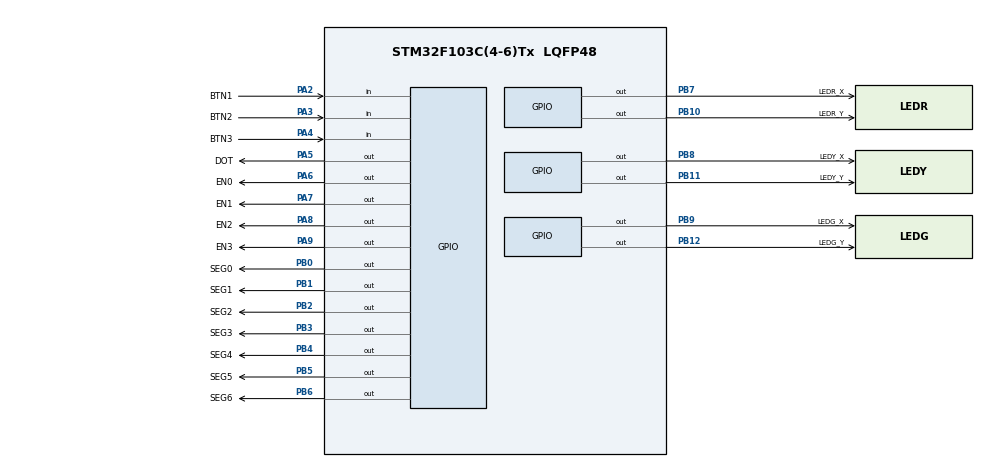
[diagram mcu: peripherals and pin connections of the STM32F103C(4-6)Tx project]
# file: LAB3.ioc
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Mcu.Family=STM32F1
Mcu.Name=STM32F103C(4-6)Tx
Mcu.Package=LQFP48
NVIC.PriorityGroup=NVIC_PRIORITYGROUP_4
NVIC.TIM2_IRQn=true\:0\:0\:false\:false\:true\:true\:true
PA2.GPIO_Label=BTN1
PA2.Signal=GPIO_Input
PA3.GPIO_Label=BTN2
PA3.Signal=GPIO_Input
PA4.GPIO_Label=BTN3
PA4.Signal=GPIO_Input
PA5.GPIO_Label=DOT
PA5.Signal=GPIO_Output
PA6.GPIO_Label=EN0
PA6.Signal=GPIO_Output
PA7.GPIO_Label=EN1
PA7.Signal=GPIO_Output
PA8.GPIO_Label=EN2
PA8.Signal=GPIO_Output
PA9.GPIO_Label=EN3
PA9.Signal=GPIO_Output
PB0.GPIO_Label=SEG0
PB0.Signal=GPIO_Output
PB1.GPIO_Label=SEG1
PB1.Signal=GPIO_Output
PB10.GPIO_Label=LEDR_Y
PB10.Signal=GPIO_Output
PB11.GPIO_Label=LEDY_Y
PB11.Signal=GPIO_Output
PB12.GPIO_Label=LEDG_Y
PB12.Signal=GPIO_Output
PB2.GPIO_Label=SEG2
PB2.Signal=GPIO_Output
PB3.GPIO_Label=SEG3
PB3.Signal=GPIO_Output
PB4.GPIO_Label=SEG4
PB4.Signal=GPIO_Output
PB5.GPIO_Label=SEG5
PB5.Signal=GPIO_Output
PB6.GPIO_Label=SEG6
PB6.Signal=GPIO_Output
PB7.GPIO_Label=LEDR_X
PB7.Signal=GPIO_Output
PB8.GPIO_Label=LEDY_X
PB8.Signal=GPIO_Output
PB9.GPIO_Label=LEDG_X
PB9.Signal=GPIO_Output
ProjectManager.HeapSize=0x200
ProjectManager.StackSize=0x400
ProjectManager.TargetToolchain=STM32CubeIDE
RCC.APB1Freq_Value=8000000
RCC.APB2Freq_Value=8000000
TIM2.Period=9
TIM2.Prescaler=7999
VP_SYS_VS_ND.Mode=No_Debug
VP_TIM2_VS_ClockSourceINT.Mode=Internal
board=custom

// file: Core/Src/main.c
/* USER CODE BEGIN Header */
/**
  ******************************************************************************
  * @file           : main.c
  * @brief          : Main program body
  ******************************************************************************
  * @attention
  *
  * <h2><center>&copy; Copyright (c) 2024 STMicroelectronics.
  * All rights reserved.</center></h2>
  *
  * This software component is licensed by ST under BSD 3-Clause license,
  * the "License"; You may not use this file except in compliance with the
  * License. You may obtain a copy of the License at:
  *                        opensource.org/licenses/BSD-3-Clause
  *
  ******************************************************************************
  */
/* USER CODE END Header */
#include "main.h"

/* USER CODE BEGIN Includes */
#include "software_timer.h"
#include "button.h"
#include "button_array.h"
#include "seven_segment_led.h"
#include "traffic_light.h"
#include "global.h"
#include "automatic.h"
#include "manual.h"
#include "setting.h"
/* USER CODE END Includes */

TIM_HandleTypeDef htim2;

void SystemClock_Config(void);
static void MX_TIM2_Init(void);
static void MX_GPIO_Init(void);

int main(void)
{

  /* MCU Configuration--------------------------------------------------------*/

  /* Reset of all peripherals, Initializes the Flash interface and the Systick. */
  HAL_Init();

  /* Configure the system clock */
  SystemClock_Config();

  /* Initialize all configured peripherals */
  MX_TIM2_Init();
  MX_GPIO_Init();
  /* USER CODE BEGIN 2 */
  HAL_TIM_Base_Start_IT(&htim2);
  initButtons(); //Init for button_array
  setTimer(4, 1000);
  /* USER CODE END 2 */

  /* Infinite loop */
  while (1)
  {

    /* USER CODE BEGIN 3 */
	  fsm_automatic();
	  fsm_manual();
	  fsm_setting();
	  if (timer_flag[4] == 1) {
		  setTimer(4, 1000);
		  HAL_GPIO_TogglePin(DOT_GPIO_Port, DOT_Pin);
	  }
  }
  /* USER CODE END 3 */
}

void SystemClock_Config(void)
{
  RCC_OscInitTypeDef RCC_OscInitStruct = {0};
  RCC_ClkInitTypeDef RCC_ClkInitStruct = {0};

  /** Initializes the RCC Oscillators according to the specified parameters
  * in the RCC_OscInitTypeDef structure.
  */
  RCC_OscInitStruct.OscillatorType = RCC_OSCILLATORTYPE_HSI;
  RCC_OscInitStruct.HSIState = RCC_HSI_ON;
  RCC_OscInitStruct.HSICalibrationValue = RCC_HSICALIBRATION_DEFAULT;
  RCC_OscInitStruct.PLL.PLLState = RCC_PLL_NONE;
  if (HAL_RCC_OscConfig(&RCC_OscInitStruct) != HAL_OK)
  {
    Error_Handler();
  }
  /** Initializes the CPU, AHB and APB buses clocks
  */
  RCC_ClkInitStruct.ClockType = RCC_CLOCKTYPE_HCLK|RCC_CLOCKTYPE_SYSCLK
                              |RCC_CLOCKTYPE_PCLK1|RCC_CLOCKTYPE_PCLK2;
  RCC_ClkInitStruct.SYSCLKSource = RCC_SYSCLKSOURCE_HSI;
  RCC_ClkInitStruct.AHBCLKDivider = RCC_SYSCLK_DIV1;
  RCC_ClkInitStruct.APB1CLKDivider = RCC_HCLK_DIV1;
  RCC_ClkInitStruct.APB2CLKDivider = RCC_HCLK_DIV1;

  if (HAL_RCC_ClockConfig(&RCC_ClkInitStruct, FLASH_LATENCY_0) != HAL_OK)
  {
    Error_Handler();
  }
}

static void MX_TIM2_Init(void)
{

  TIM_ClockConfigTypeDef sClockSourceConfig = {0};
  TIM_MasterConfigTypeDef sMasterConfig = {0};

  htim2.Instance = TIM2;
  htim2.Init.Prescaler = 7999;
  htim2.Init.CounterMode = TIM_COUNTERMODE_UP;
  htim2.Init.Period = 9;
  htim2.Init.ClockDivision = TIM_CLOCKDIVISION_DIV1;
  htim2.Init.AutoReloadPreload = TIM_AUTORELOAD_PRELOAD_DISABLE;
  if (HAL_TIM_Base_Init(&htim2) != HAL_OK)
  {
    Error_Handler();
  }
  sClockSourceConfig.ClockSource = TIM_CLOCKSOURCE_INTERNAL;
  if (HAL_TIM_ConfigClockSource(&htim2, &sClockSourceConfig) != HAL_OK)
  {
    Error_Handler();
  }
  sMasterConfig.MasterOutputTrigger = TIM_TRGO_RESET;
  sMasterConfig.MasterSlaveMode = TIM_MASTERSLAVEMODE_DISABLE;
  if (HAL_TIMEx_MasterConfigSynchronization(&htim2, &sMasterConfig) != HAL_OK)
  {
    Error_Handler();
  }

}

static void MX_GPIO_Init(void)
{
  GPIO_InitTypeDef GPIO_InitStruct = {0};

  /* GPIO Ports Clock Enable */
  __HAL_RCC_GPIOA_CLK_ENABLE();
  __HAL_RCC_GPIOB_CLK_ENABLE();

  /*Configure GPIO pin Output Level */
  HAL_GPIO_WritePin(GPIOA, DOT_Pin|EN0_Pin|EN1_Pin|EN2_Pin
                          |EN3_Pin, GPIO_PIN_RESET);

  /*Configure GPIO pin Output Level */
  HAL_GPIO_WritePin(GPIOB, SEG0_Pin|SEG1_Pin|SEG2_Pin|LEDR_Y_Pin
                          |LEDY_Y_Pin|LEDG_Y_Pin|SEG3_Pin|SEG4_Pin
                          |SEG5_Pin|SEG6_Pin|LEDR_X_Pin|LEDY_X_Pin
                          |LEDG_X_Pin, GPIO_PIN_RESET);

  /*Configure GPIO pins : BTN1_Pin BTN2_Pin BTN3_Pin */
  GPIO_InitStruct.Pin = BTN1_Pin|BTN2_Pin|BTN3_Pin;
  GPIO_InitStruct.Mode = GPIO_MODE_INPUT;
  GPIO_InitStruct.Pull = GPIO_NOPULL;
  HAL_GPIO_Init(GPIOA, &GPIO_InitStruct);

  /*Configure GPIO pins : DOT_Pin EN0_Pin EN1_Pin EN2_Pin
                           EN3_Pin */
  GPIO_InitStruct.Pin = DOT_Pin|EN0_Pin|EN1_Pin|EN2_Pin
                          |EN3_Pin;
  GPIO_InitStruct.Mode = GPIO_MODE_OUTPUT_PP;
  GPIO_InitStruct.Pull = GPIO_NOPULL;
  GPIO_InitStruct.Speed = GPIO_SPEED_FREQ_LOW;
  HAL_GPIO_Init(GPIOA, &GPIO_InitStruct);

  /*Configure GPIO pins : SEG0_Pin SEG1_Pin SEG2_Pin LEDR_Y_Pin
                           LEDY_Y_Pin LEDG_Y_Pin SEG3_Pin SEG4_Pin
                           SEG5_Pin SEG6_Pin LEDR_X_Pin LEDY_X_Pin
                           LEDG_X_Pin */
  GPIO_InitStruct.Pin = SEG0_Pin|SEG1_Pin|SEG2_Pin|LEDR_Y_Pin
                          |LEDY_Y_Pin|LEDG_Y_Pin|SEG3_Pin|SEG4_Pin
                          |SEG5_Pin|SEG6_Pin|LEDR_X_Pin|LEDY_X_Pin
                          |LEDG_X_Pin;
  GPIO_InitStruct.Mode = GPIO_MODE_OUTPUT_PP;
  GPIO_InitStruct.Pull = GPIO_NOPULL;
  GPIO_InitStruct.Speed = GPIO_SPEED_FREQ_LOW;
  HAL_GPIO_Init(GPIOB, &GPIO_InitStruct);

}

/* USER CODE BEGIN 4 */
int idx = 0;
void HAL_TIM_PeriodElapsedCallback(TIM_HandleTypeDef *htim)
{
	timerRun();
	getKeyInput();
	update7SEG(idx++);
	if (idx >= 4){
		idx = 0;
	}
}
/* USER CODE END 4 */

void Error_Handler(void)
{
  __disable_irq();
  while (1)
  {
  }
}

/************************ (C) COPYRIGHT STMicroelectronics *****END OF FILE****/
